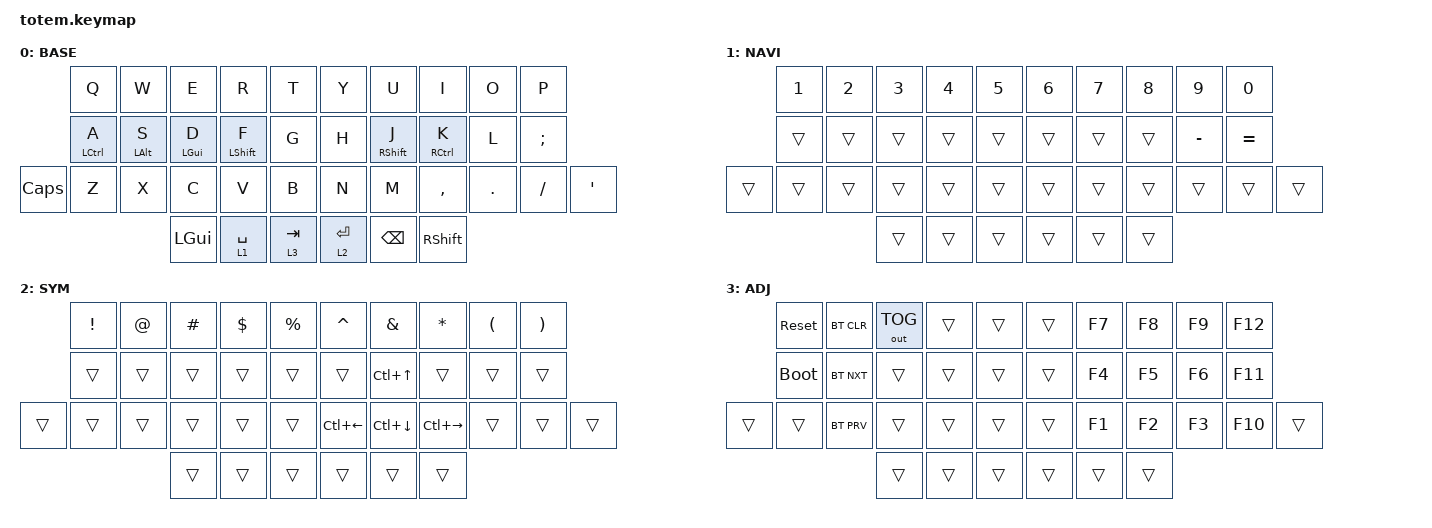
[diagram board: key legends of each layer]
//
//                                                        ▀▀▀▀▀     ▀▀▀▀▀          ▀▀█▀▀
//                                                        ▄▀▀▀▄  ▄  ▄▀▀▀▄  ▄  ▄▀▀▀▄  █  ▄▀▀▀▄
//                                                        █   █  █  █   █  █  █   █  █  █   █
//                                                         ▀▀▀   █   ▀▀▀   █   ▀▀▀   ▀   ▀▀▀
//                                                               █      ▄▄▄█▄▄▄    █   █  
//                                                               ▀      █  █  █     █▄█
//                                                             ▀▀▀▀▀    █  █  █      ▀
//                                                                      ▀  ▀  ▀
//
// ▄▄▄▄▄▄▄▄▄▄▄▄▄▄▄▄▄▄▄▄▄▄▄▄▄▄▄▄▄▄▄▄▄▄▄▄▄▄▄▄▄▄▄▄▄▄▄▄▄▄▄▄▄▄▄▄▄▄▄▄▄▄▄▄▄▄▄▄▄▄▄▄▄▄▄▄▄▄▄▄▄▄▄▄▄▄▄▄▄▄▄▄▄▄▄▄▄▄▄▄▄▄▄▄▄▄▄▄▄▄▄▄▄▄▄▄▄▄▄▄▄▄▄▄▄▄▄▄▄▄▄▄▄▄▄▄▄▄▄▄▄▄▄▄▄▄▄▄▄

#include <behaviors.dtsi>
#include <dt-bindings/zmk/bt.h>
#include <dt-bindings/zmk/keys.h>
#include <dt-bindings/zmk/outputs.h>

#define BASE 0
#define NAV  1
#define SYM  2
#define ADJ  3
#define TVP1 4
#define TVP2 5

&mt {
    quick-tap-ms = <100>;
    global-quick-tap;
    flavor = "tap-preferred";
    tapping-term-ms = <170>;
};

/ {
    combos {
        compatible = "zmk,combos";

        combo_esc {
            timeout-ms = <50>;
            key-positions = <0 1>;
            bindings = <&kp ESC>;
        };

        trt {
            bindings = <&kp BACKSLASH>;
            key-positions = <0 10>;
        };

        twetw {
            bindings = <&kp LEFT_BRACKET>;
            key-positions = <8 9>;
        };

        twerwer {
            bindings = <&kp RIGHT_BRACKET>;
            key-positions = <18 19>;
        };
    };

    macros {
        gif: gif {
            label = "giphy";
            compatible = "zmk,behavior-macro";
            #binding-cells = <0>;
            bindings =
                <&macro_press>,
                <&kp LSHFT>,
                <&macro_tap>,
                <&kp N2>,
                <&macro_release>,
                <&kp LSHFT>,
                <&macro_tap>,
                <&kp G &kp I &kp F>;
        };
    };

    keymap {
        compatible = "zmk,keymap";

        // ▄▄▄▄▄▄▄▄▄▄▄▄▄▄▄▄▄▄▄▄▄▄▄▄▄▄▄▄▄▄▄▄▄▄▄▄▄▄▄▄▄▄▄▄▄▄▄▄▄▄▄▄▄▄▄▄▄▄▄▄▄▄▄▄▄▄▄▄▄▄▄▄▄▄▄▄▄▄▄▄▄▄▄▄▄▄▄▄▄▄▄▄▄▄▄▄▄▄▄▄▄▄▄▄▄▄▄▄▄▄▄▄▄▄▄▄▄▄▄▄▄▄▄▄▄▄▄▄▄▄▄▄▄▄▄▄▄▄▄▄▄▄▄▄▄▄▄▄▄

        base_layer {
            // ┏━━━━━━━━━━━━━━━━━━━━━━━━━━━━━━━━━━━━━━━┓

            label = "BASE";

            // ┗━━━━━━━━━━━━━━━━━━━━━━━━━━━━━━━━━━━━━━━┛
            //             ┏━━━━━━━━━━━┳━━━━━━━━━━━┳━━━━━━━━━━━┳━━━━━━━━━━━┳━━━━━━━━━━━┓   ┏━━━━━━━━━━━┳━━━━━━━━━━━┳━━━━━━━━━━━┳━━━━━━━━━━━┳━━━━━━━━━━━┓
            //             ┃     Q     ┃     W     ┃     F     ┃     P     ┃     G     ┃   ┃     J     ┃     L     ┃     U     ┃     Y     ┃     ;     ┃
            //             ┣━━━━━━━━━━━╋━━━━━━━━━━━╋━━━━━━━━━━━╋━━━━━━━━━━━╋━━━━━━━━━━━┫   ┣━━━━━━━━━━━╋━━━━━━━━━━━╋━━━━━━━━━━━╋━━━━━━━━━━━╋━━━━━━━━━━━┫
            //             ┃     A     ┃     R     ┃     S     ┃     T     ┃     D     ┃   ┃     H     ┃     N     ┃     E     ┃     I     ┃     O     ┃
            // ┏━━━━━━━━━━━╋━━━━━━━━━━━╋━━━━━━━━━━━╋━━━━━━━━━━━╋━━━━━━━━━━━╋━━━━━━━━━━━┫   ┣━━━━━━━━━━━╋━━━━━━━━━━━╋━━━━━━━━━━━╋━━━━━━━━━━━╋━━━━━━━━━━━╋━━━━━━━━━━━┓
            // ┃     Q     ┃     Z     ┃     X     ┃     C     ┃     V     ┃     B     ┃   ┃     K     ┃     M     ┃     ,     ┃     .     ┃     /     ┃     \     ┃
            // ┗━━━━━━━━━━━┻━━━━━━━━━━━┻━━━━━━━━━━━╋━━━━━━━━━━━╋━━━━━━━━━━━╋━━━━━━━━━━━┫   ┣━━━━━━━━━━━╋━━━━━━━━━━━╋━━━━━━━━━━━╋━━━━━━━━━━━┻━━━━━━━━━━━┻━━━━━━━━━━━┛
            //                                     ┃    DEL    ┃    TAB    ┃    SPC    ┃   ┃   ENTER   ┃           ┃   BSPC    ┃
            //                                     ┗━━━━━━━━━━━┻━━━━━━━━━━━┻━━━━━━━━━━━┛   ┗━━━━━━━━━━━┻━━━━━━━━━━━┻━━━━━━━━━━━┛

            bindings = <
              &kp Q        &kp W       &kp E           &kp R        &kp T        &kp Y        &kp U          &kp I        &kp O    &kp P
              &mt LCTRL A  &mt LALT S  &mt LEFT_GUI D  &mt LSHFT F  &kp G        &kp H        &mt RSHFT J    &mt RCTRL K  &kp L    &kp SEMICOLON
&kp CAPSLOCK  &kp Z        &kp X       &kp C           &kp V        &kp B        &kp N        &kp M          &kp COMMA    &kp DOT  &kp FSLH       &kp SQT
                                       &kp LEFT_GUI    &lt 1 SPACE  &lt 3 TAB    &lt 2 ENTER  &kp BACKSPACE  &kp RSHIFT
            >;
        };

        // ▄▄▄▄▄▄▄▄▄▄▄▄▄▄▄▄▄▄▄▄▄▄▄▄▄▄▄▄▄▄▄▄▄▄▄▄▄▄▄▄▄▄▄▄▄▄▄▄▄▄▄▄▄▄▄▄▄▄▄▄▄▄▄▄▄▄▄▄▄▄▄▄▄▄▄▄▄▄▄▄▄▄▄▄▄▄▄▄▄▄▄▄▄▄▄▄▄▄▄▄▄▄▄▄▄▄▄▄▄▄▄▄▄▄▄▄▄▄▄▄▄▄▄▄▄▄▄▄▄▄▄▄▄▄▄▄▄▄▄▄▄▄▄▄▄▄▄▄▄

        nav_layer {
            // ┏━━━━━━━━━━━━━━━━━━━━━━━━━━━━━━━━━━━━━━━┓

            label = "NAVI";

            // ┗━━━━━━━━━━━━━━━━━━━━━━━━━━━━━━━━━━━━━━━┛
            //             ┏━━━━━━━━━━━┳━━━━━━━━━━━┳━━━━━━━━━━━┳━━━━━━━━━━━┳━━━━━━━━━━━┓   ┏━━━━━━━━━━━┳━━━━━━━━━━━┳━━━━━━━━━━━┳━━━━━━━━━━━┳━━━━━━━━━━━┓
            //             ┃           ┃           ┃     UP    ┃           ┃     {     ┃   ┃     }     ┃     7     ┃     8     ┃     9     ┃     +     ┃
            //             ┣━━━━━━━━━━━╋━━━━━━━━━━━╋━━━━━━━━━━━╋━━━━━━━━━━━╋━━━━━━━━━━━┫   ┣━━━━━━━━━━━╋━━━━━━━━━━━╋━━━━━━━━━━━╋━━━━━━━━━━━╋━━━━━━━━━━━┫
            //             ┃   SHIFT   ┃   LEFT    ┃    DOWN   ┃   RIGHT   ┃     [     ┃   ┃     ]     ┃     4     ┃     5     ┃     6     ┃     -     ┃
            // ┏━━━━━━━━━━━╋━━━━━━━━━━━╋━━━━━━━━━━━╋━━━━━━━━━━━╋━━━━━━━━━━━╋━━━━━━━━━━━┫   ┣━━━━━━━━━━━╋━━━━━━━━━━━╋━━━━━━━━━━━╋━━━━━━━━━━━╋━━━━━━━━━━━╋━━━━━━━━━━━┓
            // ┃           ┃           ┃   P UP    ┃  C LOCK   ┃  P DOWN   ┃     (     ┃   ┃     )     ┃     1     ┃     2     ┃     3     ┃     *     ┃           ┃
            // ┗━━━━━━━━━━━┻━━━━━━━━━━━┻━━━━━━━━━━━╋━━━━━━━━━━━╋━━━━━━━━━━━╋━━━━━━━━━━━┫   ┣━━━━━━━━━━━╋━━━━━━━━━━━╋━━━━━━━━━━━╋━━━━━━━━━━━┻━━━━━━━━━━━┻━━━━━━━━━━━┛
            //                                     ┃           ┃    TAB    ┃    SPC    ┃   ┃    DEL    ┃     0     ┃           ┃
            //                                     ┗━━━━━━━━━━━┻━━━━━━━━━━━┻━━━━━━━━━━━┛   ┗━━━━━━━━━━━┻━━━━━━━━━━━┻━━━━━━━━━━━┛

            bindings = <
        &kp NUMBER_1  &kp NUMBER_2  &kp NUMBER_3  &kp NUMBER_4  &kp N5    &kp NUMBER_6  &kp N7  &kp N8  &kp N9     &kp N0
        &trans        &trans        &trans        &trans        &trans    &trans        &trans  &trans  &kp MINUS  &kp EQUAL
&trans  &trans        &trans        &trans        &trans        &trans    &trans        &trans  &trans  &trans     &trans     &trans
                                    &trans        &trans        &trans    &trans        &trans  &trans
            >;
        };

        // ▄▄▄▄▄▄▄▄▄▄▄▄▄▄▄▄▄▄▄▄▄▄▄▄▄▄▄▄▄▄▄▄▄▄▄▄▄▄▄▄▄▄▄▄▄▄▄▄▄▄▄▄▄▄▄▄▄▄▄▄▄▄▄▄▄▄▄▄▄▄▄▄▄▄▄▄▄▄▄▄▄▄▄▄▄▄▄▄▄▄▄▄▄▄▄▄▄▄▄▄▄▄▄▄▄▄▄▄▄▄▄▄▄▄▄▄▄▄▄▄▄▄▄▄▄▄▄▄▄▄▄▄▄▄▄▄▄▄▄▄▄▄▄▄▄▄▄▄▄

        sim_layer {
            // ┏━━━━━━━━━━━━━━━━━━━━━━━━━━━━━━━━━━━━━━━┓

            label = "SYM";

            // ┗━━━━━━━━━━━━━━━━━━━━━━━━━━━━━━━━━━━━━━━┛
            //             ┏━━━━━━━━━━━┳━━━━━━━━━━━┳━━━━━━━━━━━┳━━━━━━━━━━━┳━━━━━━━━━━━┓   ┏━━━━━━━━━━━┳━━━━━━━━━━━┳━━━━━━━━━━━┳━━━━━━━━━━━┳━━━━━━━━━━━┓
            //             ┃     !     ┃     @     ┃     #     ┃     $     ┃     %     ┃   ┃     ˆ     ┃     &     ┃     Ü     ┃     '     ┃     "     ┃
            //             ┣━━━━━━━━━━━╋━━━━━━━━━━━╋━━━━━━━━━━━╋━━━━━━━━━━━╋━━━━━━━━━━━┫   ┣━━━━━━━━━━━╋━━━━━━━━━━━╋━━━━━━━━━━━╋━━━━━━━━━━━╋━━━━━━━━━━━┫
            //             ┃     Ä     ┃           ┃    SZ     ┃           ┃           ┃   ┃   MUTE    ┃   YEN     ┃   EURO    ┃  POUND    ┃     Ö     ┃
            // ┏━━━━━━━━━━━╋━━━━━━━━━━━╋━━━━━━━━━━━╋━━━━━━━━━━━╋━━━━━━━━━━━╋━━━━━━━━━━━┫   ┣━━━━━━━━━━━╋━━━━━━━━━━━╋━━━━━━━━━━━╋━━━━━━━━━━━╋━━━━━━━━━━━╋━━━━━━━━━━━┓
            // ┃           ┃  EMAIL1   ┃  EMAIL2   ┃           ┃           ┃           ┃   ┃   VOL-    ┃   VOL+    ┃   LAST    ┃   NEXT    ┃     \     ┃           ┃
            // ┗━━━━━━━━━━━┻━━━━━━━━━━━┻━━━━━━━━━━━╋━━━━━━━━━━━╋━━━━━━━━━━━╋━━━━━━━━━━━┫   ┣━━━━━━━━━━━╋━━━━━━━━━━━╋━━━━━━━━━━━╋━━━━━━━━━━━┻━━━━━━━━━━━┻━━━━━━━━━━━┛
            //                                     ┃           ┃    GIF    ┃    ADJ    ┃   ┃           ┃           ┃           ┃
            //                                     ┗━━━━━━━━━━━┻━━━━━━━━━━━┻━━━━━━━━━━━┛   ┗━━━━━━━━━━━┻━━━━━━━━━━━┻━━━━━━━━━━━┛

            bindings = <
        &kp EXCL  &kp AT  &kp HASH  &kp DLLR  &kp PRCNT    &kp CARET     &kp AMPS          &kp ASTERISK   &kp LEFT_PARENTHESIS  &kp RIGHT_PARENTHESIS
        &trans    &trans  &trans    &trans    &trans       &trans        &kp LC(UP_ARROW)  &trans         &trans                &trans
&trans  &trans    &trans  &trans    &trans    &trans       &kp LC(LEFT)  &kp LC(DOWN)      &kp LC(RIGHT)  &trans                &trans                 &trans
                          &trans    &trans    &trans       &trans        &trans            &trans
            >;
        };

        // ▄▄▄▄▄▄▄▄▄▄▄▄▄▄▄▄▄▄▄▄▄▄▄▄▄▄▄▄▄▄▄▄▄▄▄▄▄▄▄▄▄▄▄▄▄▄▄▄▄▄▄▄▄▄▄▄▄▄▄▄▄▄▄▄▄▄▄▄▄▄▄▄▄▄▄▄▄▄▄▄▄▄▄▄▄▄▄▄▄▄▄▄▄▄▄▄▄▄▄▄▄▄▄▄▄▄▄▄▄▄▄▄▄▄▄▄▄▄▄▄▄▄▄▄▄▄▄▄▄▄▄▄▄▄▄▄▄▄▄▄▄▄▄▄▄▄▄▄▄

        adjust_layer {
            // ┏━━━━━━━━━━━━━━━━━━━━━━━━━━━━━━━━━━━━━━━┓

            label = "ADJ";

            // ┗━━━━━━━━━━━━━━━━━━━━━━━━━━━━━━━━━━━━━━━┛
            //             ┏━━━━━━━━━━━┳━━━━━━━━━━━┳━━━━━━━━━━━┳━━━━━━━━━━━┳━━━━━━━━━━━┓   ┏━━━━━━━━━━━┳━━━━━━━━━━━┳━━━━━━━━━━━┳━━━━━━━━━━━┳━━━━━━━━━━━┓
            //             ┃   RESET   ┃ BT CLEAR  ┃  OUT TOG  ┃           ┃           ┃   ┃           ┃    F7     ┃    F8     ┃    F9     ┃    F12    ┃
            //             ┣━━━━━━━━━━━╋━━━━━━━━━━━╋━━━━━━━━━━━╋━━━━━━━━━━━╋━━━━━━━━━━━┫   ┣━━━━━━━━━━━╋━━━━━━━━━━━╋━━━━━━━━━━━╋━━━━━━━━━━━╋━━━━━━━━━━━┫
            //             ┃ BOOTLOAD  ┃ BT NEXT   ┃           ┃           ┃           ┃   ┃           ┃    F4     ┃    F5     ┃    F6     ┃    F11    ┃
            // ┏━━━━━━━━━━━╋━━━━━━━━━━━╋━━━━━━━━━━━╋━━━━━━━━━━━╋━━━━━━━━━━━╋━━━━━━━━━━━┫   ┣━━━━━━━━━━━╋━━━━━━━━━━━╋━━━━━━━━━━━╋━━━━━━━━━━━╋━━━━━━━━━━━╋━━━━━━━━━━━┓
            // ┃           ┃           ┃ BT PREV   ┃           ┃           ┃           ┃   ┃           ┃    F1     ┃    F2     ┃    F3     ┃    F10    ┃           ┃
            // ┗━━━━━━━━━━━┻━━━━━━━━━━━┻━━━━━━━━━━━╋━━━━━━━━━━━╋━━━━━━━━━━━╋━━━━━━━━━━━┫   ┣━━━━━━━━━━━╋━━━━━━━━━━━╋━━━━━━━━━━━╋━━━━━━━━━━━┻━━━━━━━━━━━┻━━━━━━━━━━━┛
            //                                     ┃           ┃           ┃           ┃   ┃           ┃           ┃           ┃
            //                                     ┗━━━━━━━━━━━┻━━━━━━━━━━━┻━━━━━━━━━━━┛   ┗━━━━━━━━━━━┻━━━━━━━━━━━┻━━━━━━━━━━━┛

            bindings = <
        &sys_reset       &bt BT_CLR  &out OUT_TOG  &trans  &trans    &trans  &kp F7  &kp F8  &kp F9  &kp F12
        &bootloader  &bt BT_NXT  &trans        &trans  &trans    &trans  &kp F4  &kp F5  &kp F6  &kp F11
&trans  &trans       &bt BT_PRV  &trans        &trans  &trans    &trans  &kp F1  &kp F2  &kp F3  &kp F10  &trans
                                 &trans        &trans  &trans    &trans  &trans  &trans
            >;
        };

        // ▄▄▄▄▄▄▄▄▄▄▄▄▄▄▄▄▄▄▄▄▄▄▄▄▄▄▄▄▄▄▄▄▄▄▄▄▄▄▄▄▄▄▄▄▄▄▄▄▄▄▄▄▄▄▄▄▄▄▄▄▄▄▄▄▄▄▄▄▄▄▄▄▄▄▄▄▄▄▄▄▄▄▄▄▄▄▄▄▄▄▄▄▄▄▄▄▄▄▄▄▄▄▄▄▄▄▄▄▄▄▄▄▄▄▄▄▄▄▄▄▄▄▄▄▄▄▄▄▄▄▄▄▄▄▄▄▄▄▄▄▄▄▄▄▄▄▄▄▄
        // ▄▄▄▄▄▄▄▄▄▄▄▄▄▄▄▄▄▄▄▄▄▄▄▄▄▄▄▄▄▄▄▄▄▄▄▄▄▄▄▄▄▄▄▄▄▄▄▄▄▄▄▄▄▄▄▄▄▄▄▄▄▄▄▄▄▄▄▄▄▄▄▄▄▄▄▄▄▄▄▄▄▄▄▄▄▄▄▄▄▄▄▄▄▄▄▄▄▄▄▄▄▄▄▄▄▄▄▄▄▄▄▄▄▄▄▄▄▄▄▄▄▄▄▄▄▄▄▄▄▄▄▄▄▄▄▄▄▄▄▄▄▄▄▄▄▄▄▄▄
    };
};
